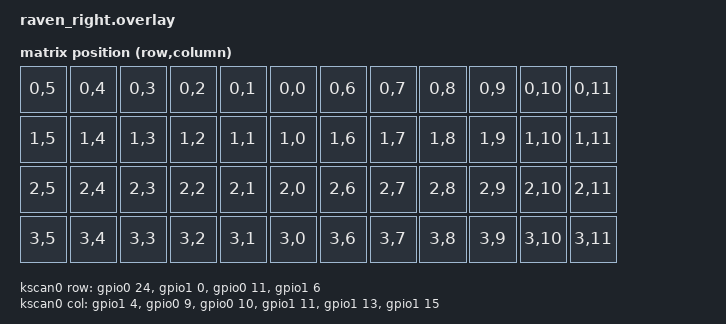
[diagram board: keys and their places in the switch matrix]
// Select the shared handwire split keymap.
#define RAVEN_RIGHT_HANDWIRE 1

#include "raven.dtsi"
#include "raven-pinctrl.dtsi"

// Physical order from the keycap side: Y through Backspace, top to bottom.
&default_transform {
    columns = <12>;
    rows = <4>;
    col-offset = <6>;
    map = <
        RC(0,5) RC(0,4) RC(0,3) RC(0,2) RC(0,1) RC(0,0) RC(0,6) RC(0,7) RC(0,8) RC(0,9) RC(0,10) RC(0,11)
        RC(1,5) RC(1,4) RC(1,3) RC(1,2) RC(1,1) RC(1,0) RC(1,6) RC(1,7) RC(1,8) RC(1,9) RC(1,10) RC(1,11)
        RC(2,5) RC(2,4) RC(2,3) RC(2,2) RC(2,1) RC(2,0) RC(2,6) RC(2,7) RC(2,8) RC(2,9) RC(2,10) RC(2,11)
        RC(3,5) RC(3,4) RC(3,3) RC(3,2) RC(3,1) RC(3,0) RC(3,6) RC(3,7) RC(3,8) RC(3,9) RC(3,10) RC(3,11)
    >;
};

&kscan0 {
    // Same diode polarity as the left handwire: drive columns, sense rows.
    diode-direction = "col2row";
    // Y, H, N, Del rows.
    row-gpios = <&gpio0 24 (GPIO_ACTIVE_HIGH | GPIO_PULL_DOWN)>,
                <&gpio1 0  (GPIO_ACTIVE_HIGH | GPIO_PULL_DOWN)>,
                <&gpio0 11 (GPIO_ACTIVE_HIGH | GPIO_PULL_DOWN)>,
                <&gpio1 6  (GPIO_ACTIVE_HIGH | GPIO_PULL_DOWN)>;
    // Y, U, I, O, P, Backspace columns.
    col-gpios = <&gpio1 4  GPIO_ACTIVE_HIGH>,
                <&gpio0 9  GPIO_ACTIVE_HIGH>,
                <&gpio0 10 GPIO_ACTIVE_HIGH>,
                <&gpio1 11 GPIO_ACTIVE_HIGH>,
                <&gpio1 13 GPIO_ACTIVE_HIGH>,
                <&gpio1 15 GPIO_ACTIVE_HIGH>;
};

// Wake with J: drive P0.09, sense P1.00.
&wakeup_key {
    gpios = <&gpio1 0 (GPIO_ACTIVE_HIGH | GPIO_PULL_DOWN)>;
};
&wakeup_trigger {
    extra-gpios = <&gpio0 9 GPIO_ACTIVE_HIGH>;
};

// OLED SDA/SCL (P1.00/P0.11) are now matrix rows.
/ {
    chosen {
        /delete-property/ zephyr,display;
    };
};
&i2c0 {
    status = "disabled";
};

zephyr_udc0: &usbd {
    status = "okay";
};

/ {
    behaviors {
        hid_fwd: hid_fwd {
            compatible = "zmk,behavior-hid-fwd";
            #binding-cells = <0>;
        };
    };
};
